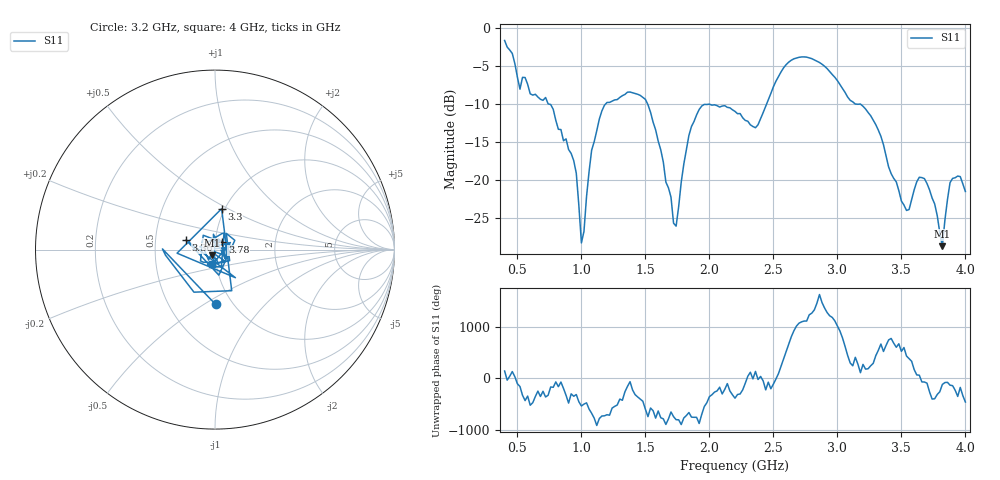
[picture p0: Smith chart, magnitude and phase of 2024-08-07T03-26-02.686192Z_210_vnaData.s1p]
!Created with skrf (http://scikit-rf.org).
# Hz S RI R 50.0
!freq ReS11 ImS11
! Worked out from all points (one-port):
!   181 points, 400 MHz to 4 GHz, reference 50 ohm
!   lowest |S11| = -28.7 dB at 3.82 GHz (marker M1), VSWR 1.08, Z = 48.2 - j3.1 ohm
!   |S11| at or under -10 dB: 740.5 MHz to 1.19 GHz (449.1 MHz wide, 46.5 % of centre); 1.517 GHz to 2.447 GHz (930.2 MHz wide, 46.9 % of centre); 3.139 GHz to end of sweep
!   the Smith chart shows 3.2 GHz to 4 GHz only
!   S11 on the Smith chart (normalised r, x): 3.2 GHz: 0.83, -0.56; 3.3 GHz: 0.97, +0.47; 3.36 GHz: 0.72, +0.08; 3.78 GHz: 1.08, +0.09; 4 GHz: 0.96, -0.16
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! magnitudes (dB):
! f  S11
! 400 MHz  -1.7
! 520 MHz  -8.1
! 720 MHz  -9.2
! 860 MHz  -14.8
! 960 MHz  -19.1
! 1 GHz  -28.3
! 1.08 GHz  -16.1
! 1.14 GHz  -12.0
! 1.3 GHz  -9.1
! 1.5 GHz  -9.4
! 1.62 GHz  -16.0
! 1.72 GHz  -25.7
! 1.76 GHz  -23.5
! 1.84 GHz  -14.1
! 1.92 GHz  -10.7
! 2.2 GHz  -11.0
! 2.36 GHz  -13.1
! 2.66 GHz  -4.1
! 3.1 GHz  -9.5
! 3.2 GHz  -10.3
! 3.3 GHz  -12.7
! 3.36 GHz  -15.4
! 3.56 GHz  -23.9
! 3.66 GHz  -19.7
! 3.78 GHz  -24.7
! 3.82 GHz  -28.7
! 3.88 GHz  -20.4
! 4 GHz  -21.5
